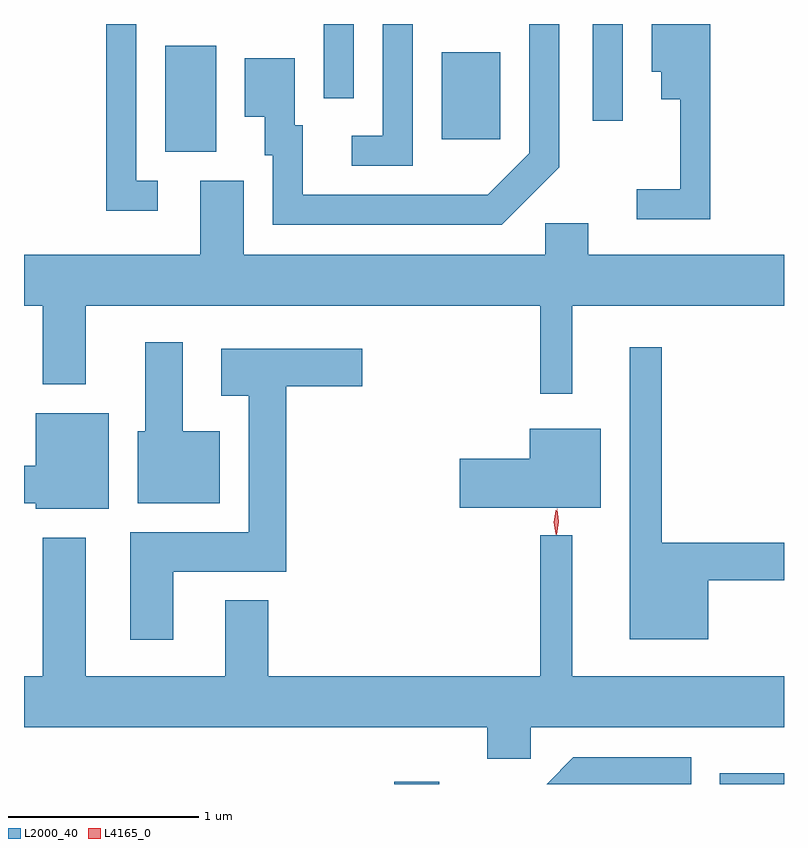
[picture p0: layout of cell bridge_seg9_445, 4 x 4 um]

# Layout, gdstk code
import gdstk
lib = gdstk.Library(unit=1e-6, precision=1e-09)
def R(c, l, rs):  # rectangles x0, y0, x1, y1
    for r in rs: c.add(gdstk.rectangle(r[:2], r[2:], *l))
def P(c, l, *ps):  # polygons
    for p in ps: c.add(gdstk.Polygon(p, *l))
L2000_40 = (2000, 40)
L4165_0 = (4165, 0)

bridge_seg9_445 = lib.new_cell('bridge_seg9_445')
R(bridge_seg9_445, L2000_40, [(427.331,1984.858,427.568,1984.869), (429.046,1984.858,429.383,1984.914), (426.126,1988.186,426.394,1988.744), (427.581,1988.251,427.889,1988.709), (428.376,1988.348,428.534,1988.858), (426.961,1988.468,427.119,1988.858)])
P(bridge_seg9_445, L2000_40, [(426.088,1988.034),(425.974,1988.034),(425.974,1988.858),(425.816,1988.858),(425.816,1987.876),(426.088,1987.876)],
  [(428.994,1988.858),(428.686,1988.858),(428.686,1988.606),(428.736,1988.606),(428.736,1988.461),(428.836,1988.461),(428.836,1987.989),(428.608,1987.989),(428.608,1987.831),(428.994,1987.831)],
  [(428.199,1988.104),(428.199,1988.858),(428.041,1988.858),(428.041,1988.177),(427.824,1987.959),(426.849,1987.959),(426.849,1988.324),(426.809,1988.324),(426.809,1988.679),(426.546,1988.679),(426.546,1988.371),(426.651,1988.371),(426.651,1988.166),(426.691,1988.166),(426.691,1987.801),(427.897,1987.801)],
  [(427.429,1988.858),(427.271,1988.858),(427.271,1988.269),(427.108,1988.269),(427.108,1988.111),(427.429,1988.111)],
  [(428.269,1987.376),(429.383,1987.376),(429.383,1987.644),(428.354,1987.644),(428.354,1987.809),(428.126,1987.809),(428.126,1987.644),(426.539,1987.644),(426.539,1988.034),(426.311,1988.034),(426.311,1987.644),(425.383,1987.644),(425.383,1987.376),(425.481,1987.376),(425.481,1986.961),(425.709,1986.961),(425.709,1987.376),(428.101,1987.376),(428.101,1986.913),(428.269,1986.913)],
  [(426.414,1986.714),(426.219,1986.714),(426.219,1987.184),(426.021,1987.184),(426.021,1986.714),(425.981,1986.714),(425.981,1986.336),(426.414,1986.336)],
  [(428.984,1985.931),(429.383,1985.931),(429.383,1986.129),(428.739,1986.129),(428.739,1987.158),(428.571,1987.158),(428.571,1985.621),(428.984,1985.621)],
  [(426.169,1985.976),(426.764,1985.976),(426.764,1986.951),(427.164,1986.951),(427.164,1987.149),(426.421,1987.149),(426.421,1986.901),(426.566,1986.901),(426.566,1986.184),(425.941,1986.184),(425.941,1985.616),(426.169,1985.616)],
  [(425.829,1986.809),(425.446,1986.809),(425.446,1986.534),(425.383,1986.534),(425.383,1986.336),(425.446,1986.336),(425.446,1986.306),(425.829,1986.306)],
  [(428.419,1986.729),(428.046,1986.729),(428.046,1986.569),(427.676,1986.569),(427.676,1986.311),(428.419,1986.311)],
  [(428.049,1985.156),(429.383,1985.156),(429.383,1985.424),(428.269,1985.424),(428.269,1986.168),(428.101,1986.168),(428.101,1985.424),(426.669,1985.424),(426.669,1985.824),(426.441,1985.824),(426.441,1985.424),(425.709,1985.424),(425.709,1986.154),(425.481,1986.154),(425.481,1985.424),(425.383,1985.424),(425.383,1985.156),(427.821,1985.156),(427.821,1984.991),(428.049,1984.991)],
  [(428.894,1984.999),(428.274,1984.999),(428.133,1984.858),(428.894,1984.858)])
P(bridge_seg9_445, L4165_0, [(428.187,1986.17),(428.178,1986.238),(428.189,1986.305),(428.189,1986.306),(428.19,1986.305),(428.198,1986.238),(428.188,1986.17),(428.188,1986.17)],
  [(428.182,1986.173),(428.182,1986.173),(428.172,1986.236),(428.182,1986.299),(428.182,1986.3),(428.183,1986.299),(428.192,1986.236),(428.183,1986.173)])

lib.write_gds('bridge_seg9_445.gds')
